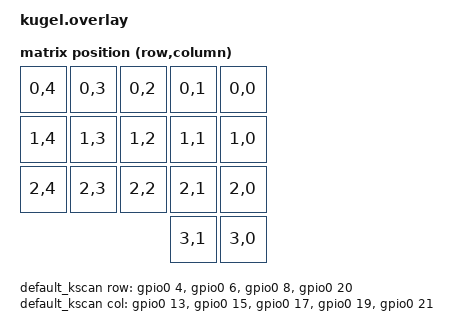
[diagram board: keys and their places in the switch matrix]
#include <dt-bindings/zmk/matrix_transform.h>
#include <zephyr/dt-bindings/input/input-event-codes.h>
#include <input/processors.dtsi>
#include <dt-bindings/zmk/input_transform.h>
#include <dt-bindings/zmk/bt.h>
#include <dt-bindings/zmk/mouse.h>
#include <dt-bindings/zmk/outputs.h>
#include <behaviors/mouse_keys.dtsi>
#include <dt-bindings/zmk/ext_power.h>

&pinctrl {
    spi0_default: spi0_default {
        group1 {
            psels = <NRF_PSEL(SPIM_SCK, 1, 3)>,
                <NRF_PSEL(SPIM_MOSI, 1, 1)>,
                <NRF_PSEL(SPIM_MISO, 1, 1)>;
        };
    };

    spi0_sleep: spi0_sleep {
        group1 {
            psels = <NRF_PSEL(SPIM_SCK, 1, 3)>,
                <NRF_PSEL(SPIM_MOSI, 1, 1)>,
                <NRF_PSEL(SPIM_MISO, 1, 1)>;
            low-power-enable;
        };
    };
};

nice_view_spi: &spi0 {
    compatible = "nordic,nrf-spim";
    pinctrl-0 = <&spi0_default>;
    pinctrl-1 = <&spi0_sleep>;
    pinctrl-names = "default", "sleep";
    cs-gpios = <&gpio1 5 GPIO_ACTIVE_HIGH>;
};

/ {
    chosen {
        zmk,kscan = &default_kscan;
        zmk,matrix-transform = &default_transform;
        zmk,battery = &vbatt;
    };

    vbatt: vbatt {
        //compatible = "zmk,battery-voltage-divider";
        //io-channels = <&adc 6>;
        //output-ohms = <2000000>;
        //full-ohms = <2806000>;
        compatible = "zmk,battery-nrf-vddh";
    };

    default_kscan: kscan {
        compatible = "zmk,kscan-gpio-matrix";
        wakeup-source;
        diode-direction = "col2row";

        row-gpios = <&gpio0 4 (GPIO_ACTIVE_HIGH | GPIO_PULL_DOWN)>,   // row0
                    <&gpio0 6 (GPIO_ACTIVE_HIGH | GPIO_PULL_DOWN)>,   // row1
                    <&gpio0 8 (GPIO_ACTIVE_HIGH | GPIO_PULL_DOWN)>,   // row2
                    <&gpio0 20 (GPIO_ACTIVE_HIGH | GPIO_PULL_DOWN)>;  // row3

        col-gpios = <&gpio0 13 GPIO_ACTIVE_HIGH>, // col0
                    <&gpio0 15 GPIO_ACTIVE_HIGH>, // col1
                    <&gpio0 17 GPIO_ACTIVE_HIGH>, // col2
                    <&gpio0 19 GPIO_ACTIVE_HIGH>, // col3
                    <&gpio0 21 GPIO_ACTIVE_HIGH>; // col4
    };

    default_transform: matrix_transform {
        compatible = "zmk,matrix-transform";

        rows = <4>;
        columns = <5>;

        map = <
            RC(0,4) RC(0,3) RC(0,2) RC(0,1) RC(0,0)
            RC(1,4) RC(1,3) RC(1,2) RC(1,1) RC(1,0)
            RC(2,4) RC(2,3) RC(2,2) RC(2,1) RC(2,0)
                                    RC(3,1) RC(3,0)
        >;
    };
};
